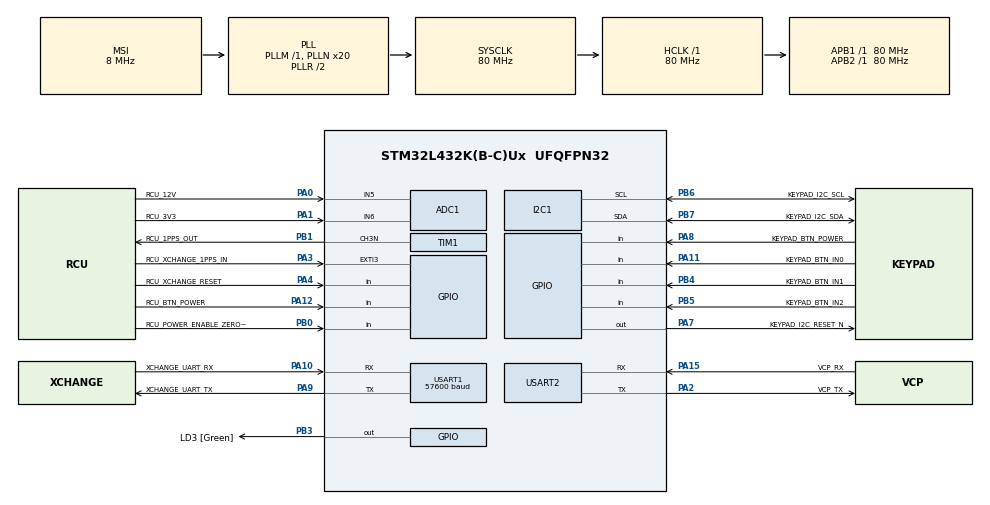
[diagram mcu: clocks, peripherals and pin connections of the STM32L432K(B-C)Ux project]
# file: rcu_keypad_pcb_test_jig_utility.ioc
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ADC1.Channel-1\#ChannelRegularConversion=ADC_CHANNEL_VREFINT
ADC1.Channel-2\#ChannelRegularConversion=ADC_CHANNEL_5
ADC1.Channel-3\#ChannelRegularConversion=ADC_CHANNEL_6
ADC1.DiscontinuousConvMode=DISABLE
ADC1.EOCSelection=ADC_EOC_SINGLE_CONV
ADC1.EnableRegularConversion=ENABLE
ADC1.NbrOfConversion=3
ADC1.NbrOfConversionFlag=1
ADC1.OffsetNumber-1\#ChannelRegularConversion=ADC_OFFSET_NONE
ADC1.OffsetNumber-2\#ChannelRegularConversion=ADC_OFFSET_NONE
ADC1.OffsetNumber-3\#ChannelRegularConversion=ADC_OFFSET_NONE
ADC1.Rank-1\#ChannelRegularConversion=1
ADC1.Rank-2\#ChannelRegularConversion=2
ADC1.Rank-3\#ChannelRegularConversion=3
ADC1.SamplingTime-1\#ChannelRegularConversion=ADC_SAMPLETIME_247CYCLES_5
ADC1.SamplingTime-2\#ChannelRegularConversion=ADC_SAMPLETIME_247CYCLES_5
ADC1.SamplingTime-3\#ChannelRegularConversion=ADC_SAMPLETIME_247CYCLES_5
ADC1.master=1
FREERTOS.INCLUDE_vTaskDelayUntil=1
FREERTOS.Queues01=serialRxEvent,128,uint32_t,0,Dynamic,NULL,NULL;serialTestTaskRxData,128,uint8_t,0,Dynamic,NULL,NULL;serialTestTaskTxData,3000,uint8_t,0,Dynamic,NULL,NULL
FREERTOS.Tasks01=defaultTask,0,128,StartDefaultTask,Default,NULL,Dynamic,NULL,NULL;serialBufferTas,-3,256,sbt_SerialBufferTask,As external,NULL,Dynamic,NULL,NULL;testTask,0,256,tt_TestTask,As external,NULL,Dynamic,NULL,NULL;ledTask,0,128,led_Task,As external,NULL,Dynamic,NULL,NULL
FREERTOS.configCHECK_FOR_STACK_OVERFLOW=2
FREERTOS.configTOTAL_HEAP_SIZE=8192
I2C1.Timing=0x10909CEC
Mcu.Family=STM32L4
Mcu.Name=STM32L432K(B-C)Ux
Mcu.Package=UFQFPN32
NVIC.EXTI3_IRQn=true\:5\:0\:true\:false\:true\:false\:true\:true
NVIC.PriorityGroup=NVIC_PRIORITYGROUP_4
NVIC.TIM1_CC_IRQn=true\:5\:0\:true\:false\:true\:false\:true\:true
NVIC.TIM1_UP_TIM16_IRQn=true\:0\:0\:false\:false\:true\:false\:false\:true
NVIC.TimeBase=TIM1_UP_TIM16_IRQn
NVIC.TimeBaseIP=TIM16
NVIC.USART2_IRQn=true\:5\:0\:true\:false\:true\:false\:true\:true
PA0.GPIO_Label=RCU_12V
PA0.Signal=ADCx_IN5
PA1.GPIO_Label=RCU_3V3
PA1.Signal=ADCx_IN6
PA10.GPIO_Label=XCHANGE_UART_RX
PA10.Mode=Asynchronous
PA10.Signal=USART1_RX
PA11.GPIO_Label=KEYPAD_BTN_IN0
PA11.Signal=GPIO_Input
PA12.GPIO_Label=RCU_BTN_POWER
PA12.Signal=GPIO_Input
PA13\ (JTMS-SWDIO).GPIO_Label=SWDIO
PA13\ (JTMS-SWDIO).Mode=Serial_Wire
PA13\ (JTMS-SWDIO).Signal=SYS_JTMS-SWDIO
PA14\ (JTCK-SWCLK).GPIO_Label=SWCLK
PA14\ (JTCK-SWCLK).Mode=Serial_Wire
PA14\ (JTCK-SWCLK).Signal=SYS_JTCK-SWCLK
PA15\ (JTDI).GPIO_Label=VCP_RX
PA15\ (JTDI).Mode=Asynchronous
PA15\ (JTDI).Signal=USART2_RX
PA2.GPIO_Label=VCP_TX
PA2.Mode=Asynchronous
PA2.Signal=USART2_TX
PA3.GPIO_Label=RCU_XCHANGE_1PPS_IN
PA3.Signal=GPXTI3
PA4.GPIO_Label=RCU_XCHANGE_RESET
PA4.Signal=GPIO_Input
PA7.GPIO_Label=KEYPAD_I2C_RESET_N
PA7.PinState=GPIO_PIN_SET
PA7.Signal=GPIO_Output
PA8.GPIO_Label=KEYPAD_BTN_POWER
PA8.Signal=GPIO_Input
PA9.GPIO_Label=XCHANGE_UART_TX
PA9.Mode=Asynchronous
PA9.Signal=USART1_TX
PB0.GPIO_Label=RCU_POWER_ENABLE_ZEROISE
PB0.Signal=GPIO_Input
PB1.GPIO_Label=RCU_1PPS_OUT
PB1.Mode=PWM Generation3 CH3N
PB1.Signal=TIM1_CH3N
PB3\ (JTDO-TRACESWO).GPIO_Label=LD3 [Green]
PB3\ (JTDO-TRACESWO).Signal=GPIO_Output
PB4\ (NJTRST).GPIO_Label=KEYPAD_BTN_IN1
PB4\ (NJTRST).Signal=GPIO_Input
PB5.GPIO_Label=KEYPAD_BTN_IN2
PB5.Signal=GPIO_Input
PB6.GPIO_Label=KEYPAD_I2C_SCL
PB6.Mode=I2C
PB6.Signal=I2C1_SCL
PB7.GPIO_Label=KEYPAD_I2C_SDA
PB7.Mode=I2C
PB7.Signal=I2C1_SDA
PC14-OSC32_IN\ (PC14).Mode=LSE-External-Oscillator
PC14-OSC32_IN\ (PC14).Signal=RCC_OSC32_IN
PC15-OSC32_OUT\ (PC15).Mode=LSE-External-Oscillator
PC15-OSC32_OUT\ (PC15).Signal=RCC_OSC32_OUT
ProjectManager.HeapSize=0x200
ProjectManager.StackSize=0x400
ProjectManager.TargetToolchain=STM32CubeIDE
RCC.ADCFreq_Value=32000000
RCC.AHBFreq_Value=80000000
RCC.APB1Freq_Value=80000000
RCC.APB1TimFreq_Value=80000000
RCC.APB2Freq_Value=80000000
RCC.APB2TimFreq_Value=80000000
RCC.CortexFreq_Value=80000000
RCC.HCLKFreq_Value=80000000
RCC.HSE_VALUE=8000000
RCC.HSI16_VALUE=16000000
RCC.HSI48_VALUE=48000000
RCC.HSI_VALUE=16000000
RCC.MSIClockRange=RCC_MSIRANGE_7
RCC.MSI_VALUE=8000000
RCC.PLLMUL=RCC_PLLMUL_4
RCC.PLLN=20
RCC.SYSCLKFreq_VALUE=80000000
RCC.SYSCLKSource=RCC_SYSCLKSOURCE_PLLCLK
RCC.USBFreq_Value=32000000
RCC.VCOOutputFreq_Value=160000000
SH.ADCx_IN5.0=ADC1_IN5,IN5-Single-Ended
SH.ADCx_IN6.0=ADC1_IN6,IN6-Single-Ended
TIM1.Channel-PWM\ Generation3\ CH3N=TIM_CHANNEL_3
TIM1.OCFastMode_PWM-PWM\ Generation3\ CH3N=TIM_OCFAST_ENABLE
TIM1.OCNIdleState_3=TIM_OCNIDLESTATE_SET
TIM1.OCNPolarity_3=TIM_OCNPOLARITY_LOW
TIM1.Period=10000
TIM1.Prescaler=8000
TIM1.Pulse-PWM\ Generation3\ CH3N=100
USART1.BaudRate=57600
USART1.VirtualMode-Asynchronous=VM_ASYNC
USART2.VirtualMode-Asynchronous=VM_ASYNC
VP_ADC1_Vref_Input.Mode=IN-Vrefint
VP_FREERTOS_VS_CMSIS_V1.Mode=CMSIS_V1
VP_SYS_VS_tim16.Mode=TIM16
VP_TIM1_VS_ClockSourceINT.Mode=Internal
board=NUCLEO-L432KC

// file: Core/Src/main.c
/* USER CODE BEGIN Header */
/**
  ******************************************************************************
  * @file           : main.c
  * @brief          : Main program body
  ******************************************************************************
  * @attention
  *
  * <h2><center>&copy; Copyright (c) 2020 STMicroelectronics.
  * All rights reserved.</center></h2>
  *
  * This software component is licensed by ST under BSD 3-Clause license,
  * the "License"; You may not use this file except in compliance with the
  * License. You may obtain a copy of the License at:
  *                        opensource.org/licenses/BSD-3-Clause
  *
  ******************************************************************************
  */
/* USER CODE END Header */
#include "main.h"
#include "cmsis_os.h"

/* USER CODE BEGIN Includes */
#include <string.h>
#include "led_task.h"
#include "serial_buffer_task.h"
#include "test_task.h"
/* USER CODE END Includes */

ADC_HandleTypeDef hadc1;

I2C_HandleTypeDef hi2c1;

TIM_HandleTypeDef htim1;

UART_HandleTypeDef huart1;
UART_HandleTypeDef huart2;

osThreadId defaultTaskHandle;
osThreadId serialBufferTasHandle;
osThreadId testTaskHandle;
osThreadId ledTaskHandle;
osMessageQId serialRxEventHandle;
osMessageQId serialTestTaskRxDataHandle;
osMessageQId serialTestTaskTxDataHandle;

void SystemClock_Config(void);
static void MX_GPIO_Init(void);
static void MX_USART2_UART_Init(void);
static void MX_I2C1_Init(void);
static void MX_USART1_UART_Init(void);
static void MX_TIM1_Init(void);
static void MX_ADC1_Init(void);
void StartDefaultTask(void const * argument);
extern void sbt_SerialBufferTask(void const * argument);
extern void tt_TestTask(void const * argument);
extern void led_Task(void const * argument);

int main(void)
{
  /* USER CODE BEGIN 1 */
	led_Init_t led_init_data;
	sbt_Init_t sbt_init_data;
	tt_Init_t tt_init_data;
  /* USER CODE END 1 */

  /* MCU Configuration--------------------------------------------------------*/

  /* Reset of all peripherals, Initializes the Flash interface and the Systick. */
  HAL_Init();

  /* Configure the system clock */
  SystemClock_Config();

  /* Initialize all configured peripherals */
  MX_GPIO_Init();
  MX_USART2_UART_Init();
  MX_I2C1_Init();
  MX_USART1_UART_Init();
  MX_TIM1_Init();
  MX_ADC1_Init();

  /* Create the queue(s) */
  /* definition and creation of serialRxEvent */
  osMessageQDef(serialRxEvent, 128, uint32_t);
  serialRxEventHandle = osMessageCreate(osMessageQ(serialRxEvent), NULL);

  /* definition and creation of serialTestTaskRxData */
  osMessageQDef(serialTestTaskRxData, 128, uint8_t);
  serialTestTaskRxDataHandle = osMessageCreate(osMessageQ(serialTestTaskRxData), NULL);

  /* definition and creation of serialTestTaskTxData */
  osMessageQDef(serialTestTaskTxData, 3000, uint8_t);
  serialTestTaskTxDataHandle = osMessageCreate(osMessageQ(serialTestTaskTxData), NULL);

  /* Create the thread(s) */
  /* definition and creation of defaultTask */
  osThreadDef(defaultTask, StartDefaultTask, osPriorityNormal, 0, 128);
  defaultTaskHandle = osThreadCreate(osThread(defaultTask), NULL);

  /* definition and creation of serialBufferTas */
  osThreadDef(serialBufferTas, sbt_SerialBufferTask, osPriorityIdle, 0, 256);
  serialBufferTasHandle = osThreadCreate(osThread(serialBufferTas), NULL);

  /* definition and creation of testTask */
  osThreadDef(testTask, tt_TestTask, osPriorityNormal, 0, 256);
  testTaskHandle = osThreadCreate(osThread(testTask), NULL);

  /* definition and creation of ledTask */
  osThreadDef(ledTask, led_Task, osPriorityNormal, 0, 128);
  ledTaskHandle = osThreadCreate(osThread(ledTask), NULL);

  /* USER CODE BEGIN RTOS_THREADS */
  /* add threads, ... */
  led_init_data.i2c_device			= &hi2c1;
  led_init_data.i2c_reset_pin_port	= KEYPAD_I2C_RESET_N_GPIO_Port;
  led_init_data.i2c_reset_pin		= KEYPAD_I2C_RESET_N_Pin;
  led_InitTask(led_init_data);

  sbt_init_data.rx_event_queue				= serialRxEventHandle;
  sbt_init_data.no_uarts					= 1;
  sbt_init_data.uarts[0].huart 				= &huart2;
  sbt_init_data.uarts[0].uart_rx_data_queue	= serialTestTaskRxDataHandle;
  sbt_init_data.uarts[0].uart_tx_data_queue = serialTestTaskTxDataHandle;
  sbt_InitTask(sbt_init_data);

  tt_init_data.tx_data_queue 			= serialTestTaskTxDataHandle;
  tt_init_data.rx_data_queue 			= serialTestTaskRxDataHandle;
  tt_init_data.xchange_huart 			= &huart1;
  tt_init_data.rcu_1pps_out_htim 		= &htim1;
  tt_init_data.rcu_1pps_out_channel 	= TIM_CHANNEL_3;
  tt_init_data.rcu_1pps_in_gpio_pin		= RCU_XCHANGE_1PPS_IN_Pin;
  tt_init_data.rcu_1pps_in_gpio_irq		= RCU_XCHANGE_1PPS_IN_EXTI_IRQn;
  tt_init_data.rcu_aop_adc_hadc			= &hadc1;

  strncpy(tt_init_data.keypad_gpi_pins[0].name, "KEYPAD - S1", TT_GPIO_PIN_NAME_MAX_LEN - 1);
  tt_init_data.keypad_gpi_pins[0].port	= KEYPAD_BTN_POWER_GPIO_Port;
  tt_init_data.keypad_gpi_pins[0].pin	= KEYPAD_BTN_POWER_Pin;

  strncpy(tt_init_data.keypad_gpi_pins[1].name, "KEYPAD - S2", TT_GPIO_PIN_NAME_MAX_LEN - 1);
  tt_init_data.keypad_gpi_pins[1].port	= KEYPAD_BTN_IN0_GPIO_Port;
  tt_init_data.keypad_gpi_pins[1].pin	= KEYPAD_BTN_IN0_Pin;

  strncpy(tt_init_data.keypad_gpi_pins[2].name, "KEYPAD - S3", TT_GPIO_PIN_NAME_MAX_LEN - 1);
  tt_init_data.keypad_gpi_pins[2].port	= KEYPAD_BTN_IN1_GPIO_Port;
  tt_init_data.keypad_gpi_pins[2].pin	= KEYPAD_BTN_IN1_Pin;

  strncpy(tt_init_data.keypad_gpi_pins[3].name, "KEYPAD - S4", TT_GPIO_PIN_NAME_MAX_LEN - 1);
  tt_init_data.keypad_gpi_pins[3].port	= KEYPAD_BTN_IN2_GPIO_Port;
  tt_init_data.keypad_gpi_pins[3].pin	= KEYPAD_BTN_IN2_Pin;

  strncpy(tt_init_data.rcu_gpi_pins[0].name, "RCU - XCHANGE RESET\t\t", TT_GPIO_PIN_NAME_MAX_LEN - 1);
  tt_init_data.rcu_gpi_pins[0].port	= RCU_XCHANGE_RESET_GPIO_Port;
  tt_init_data.rcu_gpi_pins[0].pin	= RCU_XCHANGE_RESET_Pin;

  strncpy(tt_init_data.rcu_gpi_pins[1].name, "RCU - POWER BUTTON\t\t", TT_GPIO_PIN_NAME_MAX_LEN - 1);
  tt_init_data.rcu_gpi_pins[1].port	= RCU_BTN_POWER_GPIO_Port;
  tt_init_data.rcu_gpi_pins[1].pin	= RCU_BTN_POWER_Pin;

  strncpy(tt_init_data.rcu_gpi_pins[2].name, "RCU - ZEROISE POWER ENABLE\t", TT_GPIO_PIN_NAME_MAX_LEN - 1);
  tt_init_data.rcu_gpi_pins[2].port	= RCU_POWER_ENABLE_ZEROISE_GPIO_Port;
  tt_init_data.rcu_gpi_pins[2].pin	= RCU_POWER_ENABLE_ZEROISE_Pin;

  tt_InitTask(tt_init_data);
  /* USER CODE END RTOS_THREADS */

  /* Start scheduler */
  osKernelStart();

  /* We should never get here as control is now taken by the scheduler */
  /* Infinite loop */
  while (1)
  {

  }
}

void SystemClock_Config(void)
{
  RCC_OscInitTypeDef RCC_OscInitStruct = {0};
  RCC_ClkInitTypeDef RCC_ClkInitStruct = {0};
  RCC_PeriphCLKInitTypeDef PeriphClkInit = {0};

  /** Configure LSE Drive Capability
  */
  HAL_PWR_EnableBkUpAccess();
  __HAL_RCC_LSEDRIVE_CONFIG(RCC_LSEDRIVE_LOW);
  /** Initializes the RCC Oscillators according to the specified parameters
  * in the RCC_OscInitTypeDef structure.
  */
  RCC_OscInitStruct.OscillatorType = RCC_OSCILLATORTYPE_LSE|RCC_OSCILLATORTYPE_MSI;
  RCC_OscInitStruct.LSEState = RCC_LSE_ON;
  RCC_OscInitStruct.MSIState = RCC_MSI_ON;
  RCC_OscInitStruct.MSICalibrationValue = 0;
  RCC_OscInitStruct.MSIClockRange = RCC_MSIRANGE_7;
  RCC_OscInitStruct.PLL.PLLState = RCC_PLL_ON;
  RCC_OscInitStruct.PLL.PLLSource = RCC_PLLSOURCE_MSI;
  RCC_OscInitStruct.PLL.PLLM = 1;
  RCC_OscInitStruct.PLL.PLLN = 20;
  RCC_OscInitStruct.PLL.PLLP = RCC_PLLP_DIV7;
  RCC_OscInitStruct.PLL.PLLQ = RCC_PLLQ_DIV2;
  RCC_OscInitStruct.PLL.PLLR = RCC_PLLR_DIV2;
  if (HAL_RCC_OscConfig(&RCC_OscInitStruct) != HAL_OK)
  {
    Error_Handler();
  }
  /** Initializes the CPU, AHB and APB buses clocks
  */
  RCC_ClkInitStruct.ClockType = RCC_CLOCKTYPE_HCLK|RCC_CLOCKTYPE_SYSCLK
                              |RCC_CLOCKTYPE_PCLK1|RCC_CLOCKTYPE_PCLK2;
  RCC_ClkInitStruct.SYSCLKSource = RCC_SYSCLKSOURCE_PLLCLK;
  RCC_ClkInitStruct.AHBCLKDivider = RCC_SYSCLK_DIV1;
  RCC_ClkInitStruct.APB1CLKDivider = RCC_HCLK_DIV1;
  RCC_ClkInitStruct.APB2CLKDivider = RCC_HCLK_DIV1;

  if (HAL_RCC_ClockConfig(&RCC_ClkInitStruct, FLASH_LATENCY_4) != HAL_OK)
  {
    Error_Handler();
  }
  PeriphClkInit.PeriphClockSelection = RCC_PERIPHCLK_USART1|RCC_PERIPHCLK_USART2
                              |RCC_PERIPHCLK_I2C1|RCC_PERIPHCLK_ADC;
  PeriphClkInit.Usart1ClockSelection = RCC_USART1CLKSOURCE_PCLK2;
  PeriphClkInit.Usart2ClockSelection = RCC_USART2CLKSOURCE_PCLK1;
  PeriphClkInit.I2c1ClockSelection = RCC_I2C1CLKSOURCE_PCLK1;
  PeriphClkInit.AdcClockSelection = RCC_ADCCLKSOURCE_PLLSAI1;
  PeriphClkInit.PLLSAI1.PLLSAI1Source = RCC_PLLSOURCE_MSI;
  PeriphClkInit.PLLSAI1.PLLSAI1M = 1;
  PeriphClkInit.PLLSAI1.PLLSAI1N = 8;
  PeriphClkInit.PLLSAI1.PLLSAI1P = RCC_PLLP_DIV7;
  PeriphClkInit.PLLSAI1.PLLSAI1Q = RCC_PLLQ_DIV2;
  PeriphClkInit.PLLSAI1.PLLSAI1R = RCC_PLLR_DIV2;
  PeriphClkInit.PLLSAI1.PLLSAI1ClockOut = RCC_PLLSAI1_ADC1CLK;
  if (HAL_RCCEx_PeriphCLKConfig(&PeriphClkInit) != HAL_OK)
  {
    Error_Handler();
  }
  /** Configure the main internal regulator output voltage
  */
  if (HAL_PWREx_ControlVoltageScaling(PWR_REGULATOR_VOLTAGE_SCALE1) != HAL_OK)
  {
    Error_Handler();
  }
  /** Enable MSI Auto calibration
  */
  HAL_RCCEx_EnableMSIPLLMode();
}

static void MX_ADC1_Init(void)
{

  ADC_ChannelConfTypeDef sConfig = {0};

  /** Common config
  */
  hadc1.Instance = ADC1;
  hadc1.Init.ClockPrescaler = ADC_CLOCK_ASYNC_DIV1;
  hadc1.Init.Resolution = ADC_RESOLUTION_12B;
  hadc1.Init.DataAlign = ADC_DATAALIGN_RIGHT;
  hadc1.Init.ScanConvMode = ADC_SCAN_ENABLE;
  hadc1.Init.EOCSelection = ADC_EOC_SINGLE_CONV;
  hadc1.Init.LowPowerAutoWait = DISABLE;
  hadc1.Init.ContinuousConvMode = DISABLE;
  hadc1.Init.NbrOfConversion = 3;
  hadc1.Init.DiscontinuousConvMode = DISABLE;
  hadc1.Init.ExternalTrigConv = ADC_SOFTWARE_START;
  hadc1.Init.ExternalTrigConvEdge = ADC_EXTERNALTRIGCONVEDGE_NONE;
  hadc1.Init.DMAContinuousRequests = DISABLE;
  hadc1.Init.Overrun = ADC_OVR_DATA_PRESERVED;
  hadc1.Init.OversamplingMode = DISABLE;
  if (HAL_ADC_Init(&hadc1) != HAL_OK)
  {
    Error_Handler();
  }
  /** Configure Regular Channel
  */
  sConfig.Channel = ADC_CHANNEL_VREFINT;
  sConfig.Rank = ADC_REGULAR_RANK_1;
  sConfig.SamplingTime = ADC_SAMPLETIME_247CYCLES_5;
  sConfig.SingleDiff = ADC_SINGLE_ENDED;
  sConfig.OffsetNumber = ADC_OFFSET_NONE;
  sConfig.Offset = 0;
  if (HAL_ADC_ConfigChannel(&hadc1, &sConfig) != HAL_OK)
  {
    Error_Handler();
  }
  /** Configure Regular Channel
  */
  sConfig.Channel = ADC_CHANNEL_5;
  sConfig.Rank = ADC_REGULAR_RANK_2;
  if (HAL_ADC_ConfigChannel(&hadc1, &sConfig) != HAL_OK)
  {
    Error_Handler();
  }
  /** Configure Regular Channel
  */
  sConfig.Channel = ADC_CHANNEL_6;
  sConfig.Rank = ADC_REGULAR_RANK_3;
  if (HAL_ADC_ConfigChannel(&hadc1, &sConfig) != HAL_OK)
  {
    Error_Handler();
  }

}

static void MX_I2C1_Init(void)
{

  hi2c1.Instance = I2C1;
  hi2c1.Init.Timing = 0x10909CEC;
  hi2c1.Init.OwnAddress1 = 0;
  hi2c1.Init.AddressingMode = I2C_ADDRESSINGMODE_7BIT;
  hi2c1.Init.DualAddressMode = I2C_DUALADDRESS_DISABLE;
  hi2c1.Init.OwnAddress2 = 0;
  hi2c1.Init.OwnAddress2Masks = I2C_OA2_NOMASK;
  hi2c1.Init.GeneralCallMode = I2C_GENERALCALL_DISABLE;
  hi2c1.Init.NoStretchMode = I2C_NOSTRETCH_DISABLE;
  if (HAL_I2C_Init(&hi2c1) != HAL_OK)
  {
    Error_Handler();
  }
  /** Configure Analogue filter
  */
  if (HAL_I2CEx_ConfigAnalogFilter(&hi2c1, I2C_ANALOGFILTER_ENABLE) != HAL_OK)
  {
    Error_Handler();
  }
  /** Configure Digital filter
  */
  if (HAL_I2CEx_ConfigDigitalFilter(&hi2c1, 0) != HAL_OK)
  {
    Error_Handler();
  }

}

static void MX_TIM1_Init(void)
{

  TIM_ClockConfigTypeDef sClockSourceConfig = {0};
  TIM_MasterConfigTypeDef sMasterConfig = {0};
  TIM_OC_InitTypeDef sConfigOC = {0};
  TIM_BreakDeadTimeConfigTypeDef sBreakDeadTimeConfig = {0};

  htim1.Instance = TIM1;
  htim1.Init.Prescaler = 8000;
  htim1.Init.CounterMode = TIM_COUNTERMODE_UP;
  htim1.Init.Period = 10000;
  htim1.Init.ClockDivision = TIM_CLOCKDIVISION_DIV1;
  htim1.Init.RepetitionCounter = 0;
  htim1.Init.AutoReloadPreload = TIM_AUTORELOAD_PRELOAD_DISABLE;
  if (HAL_TIM_Base_Init(&htim1) != HAL_OK)
  {
    Error_Handler();
  }
  sClockSourceConfig.ClockSource = TIM_CLOCKSOURCE_INTERNAL;
  if (HAL_TIM_ConfigClockSource(&htim1, &sClockSourceConfig) != HAL_OK)
  {
    Error_Handler();
  }
  if (HAL_TIM_PWM_Init(&htim1) != HAL_OK)
  {
    Error_Handler();
  }
  sMasterConfig.MasterOutputTrigger = TIM_TRGO_RESET;
  sMasterConfig.MasterOutputTrigger2 = TIM_TRGO2_RESET;
  sMasterConfig.MasterSlaveMode = TIM_MASTERSLAVEMODE_DISABLE;
  if (HAL_TIMEx_MasterConfigSynchronization(&htim1, &sMasterConfig) != HAL_OK)
  {
    Error_Handler();
  }
  sConfigOC.OCMode = TIM_OCMODE_PWM1;
  sConfigOC.Pulse = 100;
  sConfigOC.OCPolarity = TIM_OCPOLARITY_HIGH;
  sConfigOC.OCNPolarity = TIM_OCNPOLARITY_LOW;
  sConfigOC.OCFastMode = TIM_OCFAST_ENABLE;
  sConfigOC.OCIdleState = TIM_OCIDLESTATE_RESET;
  sConfigOC.OCNIdleState = TIM_OCNIDLESTATE_SET;
  if (HAL_TIM_PWM_ConfigChannel(&htim1, &sConfigOC, TIM_CHANNEL_3) != HAL_OK)
  {
    Error_Handler();
  }
  sBreakDeadTimeConfig.OffStateRunMode = TIM_OSSR_DISABLE;
  sBreakDeadTimeConfig.OffStateIDLEMode = TIM_OSSI_DISABLE;
  sBreakDeadTimeConfig.LockLevel = TIM_LOCKLEVEL_OFF;
  sBreakDeadTimeConfig.DeadTime = 0;
  sBreakDeadTimeConfig.BreakState = TIM_BREAK_DISABLE;
  sBreakDeadTimeConfig.BreakPolarity = TIM_BREAKPOLARITY_HIGH;
  sBreakDeadTimeConfig.BreakFilter = 0;
  sBreakDeadTimeConfig.Break2State = TIM_BREAK2_DISABLE;
  sBreakDeadTimeConfig.Break2Polarity = TIM_BREAK2POLARITY_HIGH;
  sBreakDeadTimeConfig.Break2Filter = 0;
  sBreakDeadTimeConfig.AutomaticOutput = TIM_AUTOMATICOUTPUT_DISABLE;
  if (HAL_TIMEx_ConfigBreakDeadTime(&htim1, &sBreakDeadTimeConfig) != HAL_OK)
  {
    Error_Handler();
  }
  HAL_TIM_MspPostInit(&htim1);

}

static void MX_USART1_UART_Init(void)
{

  huart1.Instance = USART1;
  huart1.Init.BaudRate = 57600;
  huart1.Init.WordLength = UART_WORDLENGTH_8B;
  huart1.Init.StopBits = UART_STOPBITS_1;
  huart1.Init.Parity = UART_PARITY_NONE;
  huart1.Init.Mode = UART_MODE_TX_RX;
  huart1.Init.HwFlowCtl = UART_HWCONTROL_NONE;
  huart1.Init.OverSampling = UART_OVERSAMPLING_16;
  huart1.Init.OneBitSampling = UART_ONE_BIT_SAMPLE_DISABLE;
  huart1.AdvancedInit.AdvFeatureInit = UART_ADVFEATURE_NO_INIT;
  if (HAL_UART_Init(&huart1) != HAL_OK)
  {
    Error_Handler();
  }

}

static void MX_USART2_UART_Init(void)
{

  huart2.Instance = USART2;
  huart2.Init.BaudRate = 115200;
  huart2.Init.WordLength = UART_WORDLENGTH_8B;
  huart2.Init.StopBits = UART_STOPBITS_1;
  huart2.Init.Parity = UART_PARITY_NONE;
  huart2.Init.Mode = UART_MODE_TX_RX;
  huart2.Init.HwFlowCtl = UART_HWCONTROL_NONE;
  huart2.Init.OverSampling = UART_OVERSAMPLING_16;
  huart2.Init.OneBitSampling = UART_ONE_BIT_SAMPLE_DISABLE;
  huart2.AdvancedInit.AdvFeatureInit = UART_ADVFEATURE_NO_INIT;
  if (HAL_UART_Init(&huart2) != HAL_OK)
  {
    Error_Handler();
  }

}

static void MX_GPIO_Init(void)
{
  GPIO_InitTypeDef GPIO_InitStruct = {0};

  /* GPIO Ports Clock Enable */
  __HAL_RCC_GPIOC_CLK_ENABLE();
  __HAL_RCC_GPIOA_CLK_ENABLE();
  __HAL_RCC_GPIOB_CLK_ENABLE();

  /*Configure GPIO pin Output Level */
  HAL_GPIO_WritePin(KEYPAD_I2C_RESET_N_GPIO_Port, KEYPAD_I2C_RESET_N_Pin, GPIO_PIN_SET);

  /*Configure GPIO pin Output Level */
  HAL_GPIO_WritePin(LD3_GPIO_Port, LD3_Pin, GPIO_PIN_RESET);

  /*Configure GPIO pin : RCU_XCHANGE_1PPS_IN_Pin */
  GPIO_InitStruct.Pin = RCU_XCHANGE_1PPS_IN_Pin;
  GPIO_InitStruct.Mode = GPIO_MODE_IT_RISING;
  GPIO_InitStruct.Pull = GPIO_NOPULL;
  HAL_GPIO_Init(RCU_XCHANGE_1PPS_IN_GPIO_Port, &GPIO_InitStruct);

  /*Configure GPIO pins : RCU_XCHANGE_RESET_Pin KEYPAD_BTN_POWER_Pin KEYPAD_BTN_IN0_Pin RCU_BTN_POWER_Pin */
  GPIO_InitStruct.Pin = RCU_XCHANGE_RESET_Pin|KEYPAD_BTN_POWER_Pin|KEYPAD_BTN_IN0_Pin|RCU_BTN_POWER_Pin;
  GPIO_InitStruct.Mode = GPIO_MODE_INPUT;
  GPIO_InitStruct.Pull = GPIO_NOPULL;
  HAL_GPIO_Init(GPIOA, &GPIO_InitStruct);

  /*Configure GPIO pin : KEYPAD_I2C_RESET_N_Pin */
  GPIO_InitStruct.Pin = KEYPAD_I2C_RESET_N_Pin;
  GPIO_InitStruct.Mode = GPIO_MODE_OUTPUT_PP;
  GPIO_InitStruct.Pull = GPIO_NOPULL;
  GPIO_InitStruct.Speed = GPIO_SPEED_FREQ_LOW;
  HAL_GPIO_Init(KEYPAD_I2C_RESET_N_GPIO_Port, &GPIO_InitStruct);

  /*Configure GPIO pins : RCU_POWER_ENABLE_ZEROISE_Pin KEYPAD_BTN_IN1_Pin KEYPAD_BTN_IN2_Pin */
  GPIO_InitStruct.Pin = RCU_POWER_ENABLE_ZEROISE_Pin|KEYPAD_BTN_IN1_Pin|KEYPAD_BTN_IN2_Pin;
  GPIO_InitStruct.Mode = GPIO_MODE_INPUT;
  GPIO_InitStruct.Pull = GPIO_NOPULL;
  HAL_GPIO_Init(GPIOB, &GPIO_InitStruct);

  /*Configure GPIO pin : LD3_Pin */
  GPIO_InitStruct.Pin = LD3_Pin;
  GPIO_InitStruct.Mode = GPIO_MODE_OUTPUT_PP;
  GPIO_InitStruct.Pull = GPIO_NOPULL;
  GPIO_InitStruct.Speed = GPIO_SPEED_FREQ_LOW;
  HAL_GPIO_Init(LD3_GPIO_Port, &GPIO_InitStruct);

  /* EXTI interrupt init*/
  HAL_NVIC_SetPriority(EXTI3_IRQn, 5, 0);
  HAL_NVIC_EnableIRQ(EXTI3_IRQn);

}

void StartDefaultTask(void const * argument)
{
  for(;;)
  {
    osDelay(1);
  }
}

void HAL_TIM_PeriodElapsedCallback(TIM_HandleTypeDef *htim)
{
  if (htim->Instance == TIM16) {
    HAL_IncTick();
  }
}

void Error_Handler(void)
{
}

/************************ (C) COPYRIGHT STMicroelectronics *****END OF FILE****/

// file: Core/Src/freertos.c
/* USER CODE BEGIN Header */
/**
  ******************************************************************************
  * File Name          : freertos.c
  * Description        : Code for freertos applications
  ******************************************************************************
  * @attention
  *
  * <h2><center>&copy; Copyright (c) 2020 STMicroelectronics.
  * All rights reserved.</center></h2>
  *
  * This software component is licensed by ST under Ultimate Liberty license
  * SLA0044, the "License"; You may not use this file except in compliance with
  * the License. You may obtain a copy of the License at:
  *                             www.st.com/SLA0044
  *
  ******************************************************************************
  */
/* USER CODE END Header */

#include "FreeRTOS.h"
#include "task.h"
#include "main.h"

/* GetIdleTaskMemory prototype (linked to static allocation support) */
void vApplicationGetIdleTaskMemory( StaticTask_t **ppxIdleTaskTCBBuffer, StackType_t **ppxIdleTaskStackBuffer, uint32_t *pulIdleTaskStackSize );

/* Hook prototypes */
void vApplicationStackOverflowHook(xTaskHandle xTask, signed char *pcTaskName);

/* USER CODE BEGIN 4 */
__weak void vApplicationStackOverflowHook(xTaskHandle xTask, signed char *pcTaskName)
{
   /* Run time stack overflow checking is performed if
   configCHECK_FOR_STACK_OVERFLOW is defined to 1 or 2. This hook function is
   called if a stack overflow is detected. */
}
/* USER CODE END 4 */

/* USER CODE BEGIN GET_IDLE_TASK_MEMORY */
static StaticTask_t xIdleTaskTCBBuffer;
static StackType_t xIdleStack[configMINIMAL_STACK_SIZE];

void vApplicationGetIdleTaskMemory( StaticTask_t **ppxIdleTaskTCBBuffer, StackType_t **ppxIdleTaskStackBuffer, uint32_t *pulIdleTaskStackSize )
{
  *ppxIdleTaskTCBBuffer = &xIdleTaskTCBBuffer;
  *ppxIdleTaskStackBuffer = &xIdleStack[0];
  *pulIdleTaskStackSize = configMINIMAL_STACK_SIZE;
  /* place for user code */
}
/* USER CODE END GET_IDLE_TASK_MEMORY */

/************************ (C) COPYRIGHT STMicroelectronics *****END OF FILE****/
